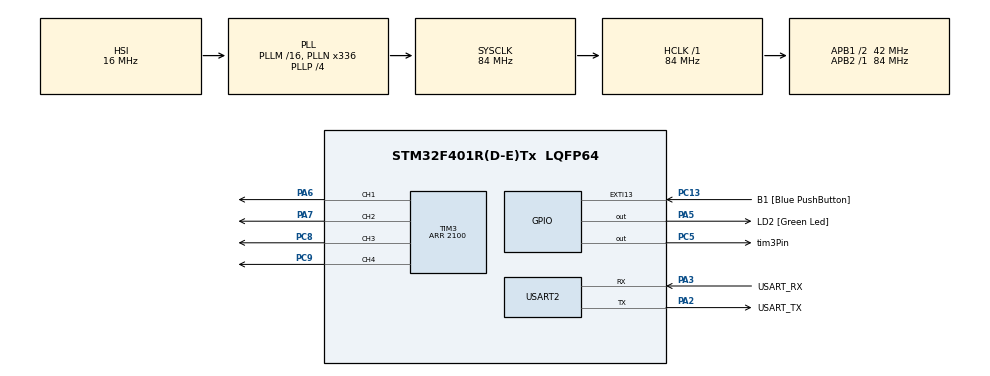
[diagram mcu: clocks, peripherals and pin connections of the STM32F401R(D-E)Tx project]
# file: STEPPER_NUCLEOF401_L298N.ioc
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Mcu.Family=STM32F4
Mcu.Name=STM32F401R(D-E)Tx
Mcu.Package=LQFP64
NVIC.EXTI15_10_IRQn=true\:0\:1\:false\:false\:true\:true\:true
NVIC.PriorityGroup=NVIC_PRIORITYGROUP_0
NVIC.TIM3_IRQn=true\:0\:0\:true\:false\:true\:true\:true
PA13.GPIO_Label=TMS
PA13.Mode=Serial_Wire
PA13.Signal=SYS_JTMS-SWDIO
PA14.GPIO_Label=TCK
PA14.Mode=Serial_Wire
PA14.Signal=SYS_JTCK-SWCLK
PA2.GPIO_Label=USART_TX
PA2.GPIO_Mode=GPIO_MODE_AF_PP
PA2.GPIO_PuPd=GPIO_NOPULL
PA2.GPIO_Speed=GPIO_SPEED_FREQ_LOW
PA2.Mode=Asynchronous
PA2.Signal=USART2_TX
PA3.GPIO_Label=USART_RX
PA3.GPIO_Mode=GPIO_MODE_AF_PP
PA3.GPIO_PuPd=GPIO_NOPULL
PA3.GPIO_Speed=GPIO_SPEED_FREQ_LOW
PA3.Mode=Asynchronous
PA3.Signal=USART2_RX
PA5.GPIO_Label=LD2 [Green Led]
PA5.GPIO_Mode=GPIO_MODE_OUTPUT_PP
PA5.GPIO_PuPd=GPIO_NOPULL
PA5.GPIO_Speed=GPIO_SPEED_FREQ_LOW
PA5.Signal=GPIO_Output
PA6.GPIO_PuPd=GPIO_PULLDOWN
PA6.GPIO_Speed=GPIO_SPEED_FREQ_HIGH
PA6.Signal=S_TIM3_CH1
PA7.GPIO_PuPd=GPIO_PULLDOWN
PA7.GPIO_Speed=GPIO_SPEED_FREQ_HIGH
PA7.Signal=S_TIM3_CH2
PB3.GPIO_Label=SWO
PB3.Signal=SYS_JTDO-SWO
PC13-ANTI_TAMP.GPIO_Label=B1 [Blue PushButton]
PC13-ANTI_TAMP.GPIO_ModeDefaultEXTI=GPIO_MODE_IT_FALLING
PC13-ANTI_TAMP.GPIO_PuPd=GPIO_NOPULL
PC13-ANTI_TAMP.Signal=GPXTI13
PC14-OSC32_IN.Mode=LSE-External-Oscillator
PC14-OSC32_IN.Signal=RCC_OSC32_IN
PC15-OSC32_OUT.Mode=LSE-External-Oscillator
PC15-OSC32_OUT.Signal=RCC_OSC32_OUT
PC5.GPIO_Label=tim3Pin
PC5.Signal=GPIO_Output
PC8.GPIO_PuPd=GPIO_PULLDOWN
PC8.GPIO_Speed=GPIO_SPEED_FREQ_HIGH
PC8.Signal=S_TIM3_CH3
PC9.GPIO_PuPd=GPIO_PULLDOWN
PC9.GPIO_Speed=GPIO_SPEED_FREQ_HIGH
PC9.Signal=S_TIM3_CH4
PH0\ -\ OSC_IN.Mode=HSE-External-Clock-Source
PH0\ -\ OSC_IN.Signal=RCC_OSC_IN
PH1\ -\ OSC_OUT.Mode=HSE-External-Clock-Source
PH1\ -\ OSC_OUT.Signal=RCC_OSC_OUT
ProjectManager.HeapSize=0x200
ProjectManager.StackSize=0x400
ProjectManager.TargetToolchain=STM32CubeIDE
RCC.48MHZClocksFreq_Value=48000000
RCC.AHBFreq_Value=84000000
RCC.APB1CLKDivider=RCC_HCLK_DIV2
RCC.APB1Freq_Value=42000000
RCC.APB1TimFreq_Value=84000000
RCC.APB2Freq_Value=84000000
RCC.APB2TimFreq_Value=84000000
RCC.CortexFreq_Value=84000000
RCC.HCLKFreq_Value=84000000
RCC.HSE_VALUE=8000000
RCC.HSI_VALUE=16000000
RCC.PLLN=336
RCC.PLLP=RCC_PLLP_DIV4
RCC.PLLQ=7
RCC.SYSCLKFreq_VALUE=84000000
RCC.SYSCLKSource=RCC_SYSCLKSOURCE_PLLCLK
RCC.VCOOutputFreq_Value=336000000
SH.S_TIM3_CH1.0=TIM3_CH1,PWM Generation1 CH1
SH.S_TIM3_CH2.0=TIM3_CH2,PWM Generation2 CH2
SH.S_TIM3_CH3.0=TIM3_CH3,PWM Generation3 CH3
SH.S_TIM3_CH4.0=TIM3_CH4,PWM Generation4 CH4
TIM3.Channel-PWM\ Generation1\ CH1=TIM_CHANNEL_1
TIM3.Channel-PWM\ Generation2\ CH2=TIM_CHANNEL_2
TIM3.Channel-PWM\ Generation3\ CH3=TIM_CHANNEL_3
TIM3.Channel-PWM\ Generation4\ CH4=TIM_CHANNEL_4
TIM3.CounterMode=TIM_COUNTERMODE_CENTERALIGNED1
TIM3.OCFastMode_PWM-PWM\ Generation1\ CH1=TIM_OCFAST_DISABLE
TIM3.OCFastMode_PWM-PWM\ Generation2\ CH2=TIM_OCFAST_DISABLE
TIM3.OCFastMode_PWM-PWM\ Generation3\ CH3=TIM_OCFAST_DISABLE
TIM3.OCFastMode_PWM-PWM\ Generation4\ CH4=TIM_OCFAST_DISABLE
TIM3.OCPolarity_1=TIM_OCPOLARITY_LOW
TIM3.OCPolarity_2=TIM_OCPOLARITY_LOW
TIM3.OCPolarity_3=TIM_OCPOLARITY_LOW
TIM3.OCPolarity_4=TIM_OCPOLARITY_LOW
TIM3.Period=2100
TIM3.Pulse-PWM\ Generation1\ CH1=1050
TIM3.Pulse-PWM\ Generation2\ CH2=1050
TIM3.Pulse-PWM\ Generation3\ CH3=1050
TIM3.Pulse-PWM\ Generation4\ CH4=1050
USART2.VirtualMode=VM_ASYNC
VP_TIM3_VS_ClockSourceINT.Mode=Internal
board=NUCLEO-F401RE

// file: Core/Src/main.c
/* USER CODE BEGIN Header */
/**
 ******************************************************************************
 * @file           : main.c
 * @brief          : Main program body
 ******************************************************************************
 * @attention
 *
 * <h2><center>&copy; Copyright (c) 2021 STMicroelectronics.
 * All rights reserved.</center></h2>
 *
 * This software component is licensed by ST under BSD 3-Clause license,
 * the "License"; You may not use this file except in compliance with the
 * License. You may obtain a copy of the License at:
 *                        opensource.org/licenses/BSD-3-Clause
 *
 ******************************************************************************
 */
/* USER CODE END Header */
#include "main.h"
#include "tim.h"
#include "usart.h"
#include "gpio.h"

/* USER CODE BEGIN Includes */
#include "pwm.h"
#include "stepper.h"
#include <math.h>

/* USER CODE END Includes */

/* USER CODE BEGIN PV */
uint32_t flag100 = 0u;
uint32_t buttonActionRequest = 0u;

/* USER CODE END PV */

void SystemClock_Config(void);

int main(void)
{
	/* USER CODE BEGIN 1 */
	uint32_t isRunning = 0;
	/* USER CODE END 1 */

	/* MCU Configuration--------------------------------------------------------*/

	/* Reset of all peripherals, Initializes the Flash interface and the Systick. */
	HAL_Init();

	/* Configure the system clock */
	SystemClock_Config();

	/* Initialize all configured peripherals */
	MX_GPIO_Init();
	MX_USART2_UART_Init();
	MX_TIM3_Init();
	/* USER CODE BEGIN 2 */
	PWM_Init();
	STEPPER_Init();
	/* USER CODE END 2 */

	/* Infinite loop */
	/* USER CODE BEGIN WHILE */
	while (1)
	{

		if (flag100 == 1u)
		{
			flag100 = 0u;

			if (buttonActionRequest == 1)
			{
				if (isRunning == 0)
				{
					isRunning = 1;
					buttonActionRequest = 0;
					HAL_GPIO_WritePin(LD2_GPIO_Port, LD2_Pin, GPIO_PIN_SET);
					STEPPER_SetStepToDo(5000);
				}
				else
				{
					isRunning = 0;
					buttonActionRequest = 0;
					HAL_GPIO_WritePin(LD2_GPIO_Port, LD2_Pin, GPIO_PIN_RESET);
					STEPPER_SetStepToDo(0);
				}
			}

		}

		/* USER CODE END WHILE */

	}
}

void SystemClock_Config(void)
{
	RCC_OscInitTypeDef RCC_OscInitStruct = {0};
	RCC_ClkInitTypeDef RCC_ClkInitStruct = {0};

	/** Configure the main internal regulator output voltage
	 */
	__HAL_RCC_PWR_CLK_ENABLE();
	__HAL_PWR_VOLTAGESCALING_CONFIG(PWR_REGULATOR_VOLTAGE_SCALE2);
	/** Initializes the RCC Oscillators according to the specified parameters
	 * in the RCC_OscInitTypeDef structure.
	 */
	RCC_OscInitStruct.OscillatorType = RCC_OSCILLATORTYPE_HSI;
	RCC_OscInitStruct.HSIState = RCC_HSI_ON;
	RCC_OscInitStruct.HSICalibrationValue = RCC_HSICALIBRATION_DEFAULT;
	RCC_OscInitStruct.PLL.PLLState = RCC_PLL_ON;
	RCC_OscInitStruct.PLL.PLLSource = RCC_PLLSOURCE_HSI;
	RCC_OscInitStruct.PLL.PLLM = 16;
	RCC_OscInitStruct.PLL.PLLN = 336;
	RCC_OscInitStruct.PLL.PLLP = RCC_PLLP_DIV4;
	RCC_OscInitStruct.PLL.PLLQ = 7;
	if (HAL_RCC_OscConfig(&RCC_OscInitStruct) != HAL_OK)
	{
		Error_Handler();
	}
	/** Initializes the CPU, AHB and APB buses clocks
	 */
	RCC_ClkInitStruct.ClockType = RCC_CLOCKTYPE_HCLK|RCC_CLOCKTYPE_SYSCLK
			|RCC_CLOCKTYPE_PCLK1|RCC_CLOCKTYPE_PCLK2;
	RCC_ClkInitStruct.SYSCLKSource = RCC_SYSCLKSOURCE_PLLCLK;
	RCC_ClkInitStruct.AHBCLKDivider = RCC_SYSCLK_DIV1;
	RCC_ClkInitStruct.APB1CLKDivider = RCC_HCLK_DIV2;
	RCC_ClkInitStruct.APB2CLKDivider = RCC_HCLK_DIV1;

	if (HAL_RCC_ClockConfig(&RCC_ClkInitStruct, FLASH_LATENCY_2) != HAL_OK)
	{
		Error_Handler();
	}
}

/* USER CODE BEGIN 4 */
void HAL_SYSTICK_Callback(void)
{
	static uint32_t counter100 = 0;
	counter100++;

	if (counter100 == 100)
	{
		counter100 = 0;
		flag100 = 1;
	}
}

void HAL_GPIO_EXTI_Callback(uint16_t GPIO_Pin)
{
	if (GPIO_Pin==B1_Pin)
	{
		if (HAL_GPIO_ReadPin(B1_GPIO_Port, B1_Pin) == GPIO_PIN_RESET)
		{
			buttonActionRequest = 1;
		}
	}
}

/* USER CODE END 4 */

void Error_Handler(void)
{
	__disable_irq();
	while (1)
	{
	}
}

/************************ (C) COPYRIGHT STMicroelectronics *****END OF FILE****/
